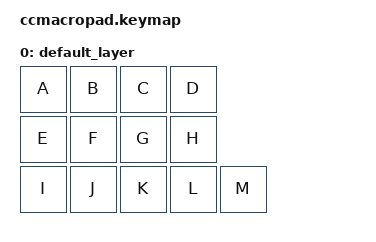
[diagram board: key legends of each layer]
// This file was generated from a template. Edit it to match your keyboard.
// See https://zmk.dev/docs/development/hardware-integration/new-shield for more instructions.

#include <behaviors.dtsi>
#include <dt-bindings/zmk/keys.h>

/ {
    // Define a default keymap here.
    // See https://zmk.dev/docs/development/hardware-integration/new-shield#default-keymap.
    keymap {
        compatible = "zmk,keymap";

        default_layer { // Layer 0
        // -----------------------------------------
        // |   A   |   B   |   C   |   D   |
        // |   E   |   F   |   G   |   H   |
        // |   I   |   J   |   K   |   L   |   M   |
            bindings = <
                &kp A &kp B &kp C &kp D
                &kp E &kp F &kp G &kp H
                &kp I &kp J &kp K &kp L &kp M
            >;
        };
    };
};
